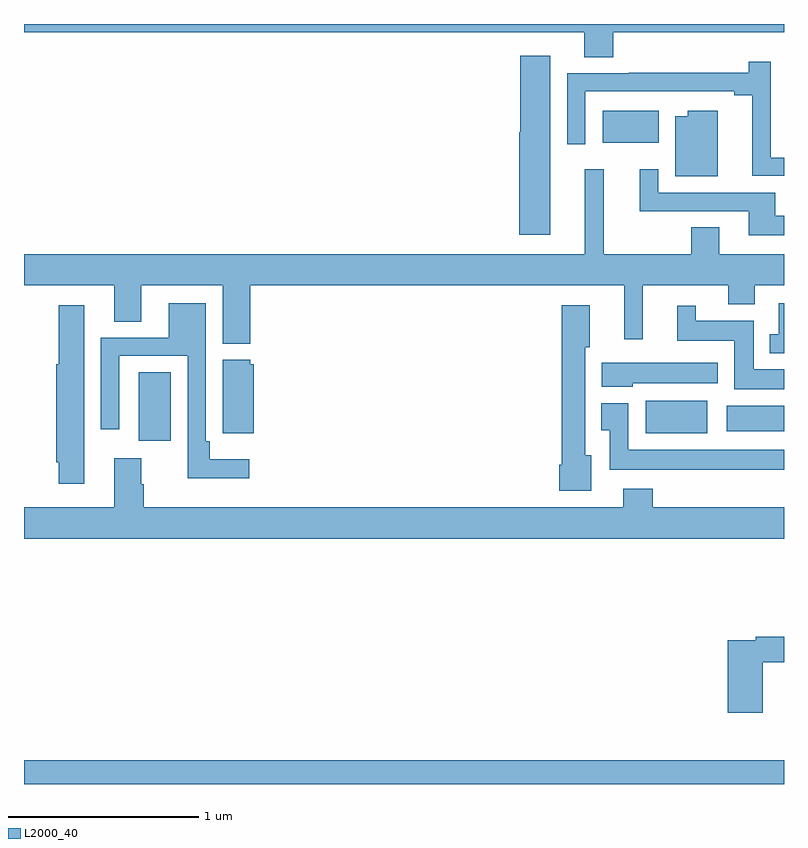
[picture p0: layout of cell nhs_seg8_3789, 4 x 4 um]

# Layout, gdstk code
import gdstk
lib = gdstk.Library(unit=1e-6, precision=1e-09)
def R(c, l, rs):  # rectangles x0, y0, x1, y1
    for r in rs: c.add(gdstk.rectangle(r[:2], r[2:], *l))
def P(c, l, *ps):  # polygons
    for p in ps: c.add(gdstk.Polygon(p, *l))
L2000_40 = (2000, 40)

nhs_seg8_3789 = lib.new_cell('nhs_seg8_3789')
R(nhs_seg8_3789, L2000_40, [(345,1089.9,349,1090.024), (345.605,1091.706,345.772,1092.068), (348.272,1091.747,348.595,1091.917), (348.699,1091.756,349,1091.89), (348.047,1093.274,348.34,1093.444)])
P(nhs_seg8_3789, L2000_40, [(348.101,1093.856),(349,1093.856),(349,1093.9),(345,1093.9),(345,1093.856),(347.948,1093.856),(347.948,1093.726),(348.101,1093.726)],
  [(347.77,1093.732),(347.612,1093.732),(347.612,1093.329),(347.606,1093.329),(347.606,1092.792),(347.77,1092.792)],
  [(349,1093.197),(348.93,1093.197),(348.93,1093.702),(348.814,1093.702),(348.814,1093.643),(348.184,1093.643),(348.184,1093.641),(347.859,1093.641),(347.859,1093.266),(347.955,1093.266),(347.955,1093.545),(348.737,1093.545),(348.737,1093.525),(348.833,1093.525),(348.833,1093.101),(349,1093.101)],
  [(348.652,1093.444),(348.494,1093.444),(348.494,1093.414),(348.428,1093.414),(348.428,1093.1),(348.652,1093.1)],
  [(346.19,1092.524),(348.158,1092.524),(348.158,1092.24),(348.257,1092.24),(348.257,1092.524),(348.707,1092.524),(348.707,1092.425),(348.847,1092.425),(348.847,1092.524),(349,1092.524),(349,1092.688),(348.658,1092.688),(348.658,1092.83),(348.511,1092.83),(348.511,1092.688),(348.05,1092.688),(348.05,1093.135),(347.951,1093.135),(347.951,1092.688),(345,1092.688),(345,1092.524),(345.476,1092.524),(345.476,1092.334),(345.616,1092.334),(345.616,1092.524),(346.046,1092.524),(346.046,1092.218),(346.19,1092.218)],
  [(349,1092.892),(348.955,1092.892),(348.955,1093.011),(348.339,1093.011),(348.339,1093.135),(348.242,1093.135),(348.242,1092.915),(348.815,1092.915),(348.815,1092.788),(349,1092.788)],
  [(346.186,1091.608),(345.977,1091.608),(345.977,1091.704),(345.957,1091.704),(345.957,1092.43),(345.761,1092.43),(345.761,1092.249),(345.405,1092.249),(345.405,1091.766),(345.501,1091.766),(345.501,1092.153),(345.861,1092.153),(345.861,1091.51),(346.186,1091.51)],
  [(349,1092.429),(348.972,1092.429),(348.972,1092.267),(348.926,1092.267),(348.926,1092.167),(349,1092.167)],
  [(345.316,1092.421),(345.182,1092.421),(345.182,1092.108),(345.17,1092.108),(345.17,1091.593),(345.182,1091.593),(345.182,1091.481),(345.316,1091.481)],
  [(347.986,1091.631),(347.953,1091.631),(347.953,1092.198),(347.977,1092.198),(347.977,1092.421),(347.831,1092.421),(347.831,1091.58),(347.816,1091.58),(347.816,1091.444),(347.986,1091.444)],
  [(349,1092.082),(348.841,1092.082),(348.841,1092.337),(348.535,1092.337),(348.535,1092.418),(348.437,1092.418),(348.437,1092.233),(348.737,1092.233),(348.737,1091.978),(349,1091.978)],
  [(346.21,1092.108),(346.191,1092.108),(346.191,1092.133),(346.046,1092.133),(346.046,1091.747),(346.21,1091.747)],
  [(348.204,1092.008),(348.652,1092.008),(348.652,1092.118),(348.042,1092.118),(348.042,1091.99),(348.204,1091.99)],
  [(349,1091.659),(348.18,1091.659),(348.18,1091.905),(348.038,1091.905),(348.038,1091.761),(348.083,1091.761),(348.083,1091.555),(349,1091.555)],
  [(349,1091.356),(348.308,1091.356),(348.308,1091.455),(348.155,1091.455),(348.155,1091.356),(345.629,1091.356),(345.629,1091.477),(345.616,1091.477),(345.616,1091.614),(345.476,1091.614),(345.476,1091.356),(345,1091.356),(345,1091.192),(349,1091.192)],
  [(348.887,1090.54),(349,1090.54),(349,1090.676),(348.85,1090.676),(348.85,1090.656),(348.704,1090.656),(348.704,1090.275),(348.887,1090.275)])

lib.write_gds('nhs_seg8_3789.gds')
